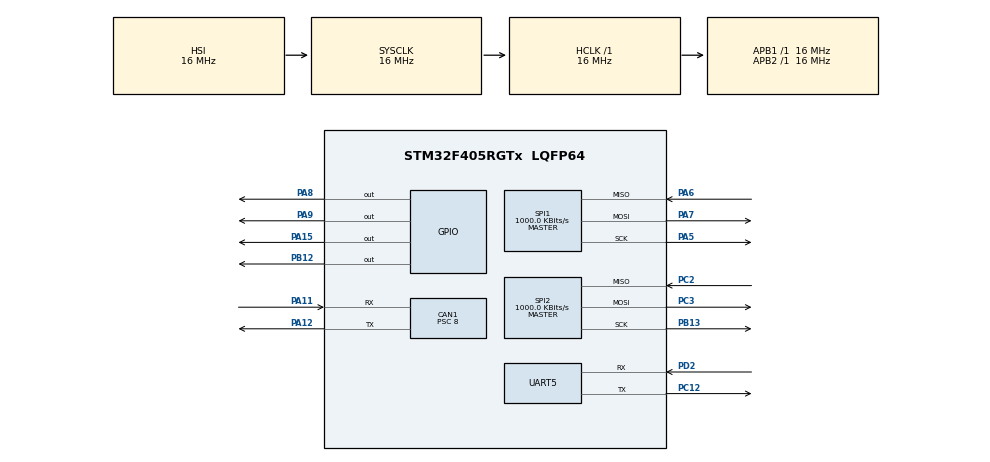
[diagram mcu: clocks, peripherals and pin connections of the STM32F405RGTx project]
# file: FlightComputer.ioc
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CAN1.BS1=CAN_BS1_2TQ
CAN1.BS2=CAN_BS2_1TQ
CAN1.CalculateBaudRate=500000
CAN1.CalculateTimeBit=2000
CAN1.CalculateTimeQuantum=500.0
CAN1.Prescaler=8
Mcu.Family=STM32F4
Mcu.Name=STM32F405RGTx
Mcu.Package=LQFP64
NVIC.CAN1_RX0_IRQn=true\:0\:0\:false\:false\:true\:true\:true\:true
NVIC.CAN1_TX_IRQn=true\:0\:0\:false\:false\:true\:true\:true\:true
NVIC.PriorityGroup=NVIC_PRIORITYGROUP_4
NVIC.UART5_IRQn=true\:0\:0\:false\:false\:true\:true\:true\:true
PA11.Mode=CAN_Activate
PA11.Signal=CAN1_RX
PA12.Mode=CAN_Activate
PA12.Signal=CAN1_TX
PA13.Mode=Serial_Wire
PA13.Signal=SYS_JTMS-SWDIO
PA14.Mode=Serial_Wire
PA14.Signal=SYS_JTCK-SWCLK
PA15.GPIO_Speed=GPIO_SPEED_FREQ_VERY_HIGH
PA15.PinState=GPIO_PIN_SET
PA15.Signal=GPIO_Output
PA4.Signal=SPI1_NSS
PA5.Mode=Full_Duplex_Master
PA5.Signal=SPI1_SCK
PA6.Mode=Full_Duplex_Master
PA6.Signal=SPI1_MISO
PA7.Mode=Full_Duplex_Master
PA7.Signal=SPI1_MOSI
PA8.PinState=GPIO_PIN_SET
PA8.Signal=GPIO_Output
PA9.PinState=GPIO_PIN_SET
PA9.Signal=GPIO_Output
PB12.GPIO_Speed=GPIO_SPEED_FREQ_VERY_HIGH
PB12.PinState=GPIO_PIN_SET
PB12.Signal=GPIO_Output
PB13.Mode=Full_Duplex_Master
PB13.Signal=SPI2_SCK
PC12.Mode=Asynchronous
PC12.Signal=UART5_TX
PC2.Mode=Full_Duplex_Master
PC2.Signal=SPI2_MISO
PC3.Mode=Full_Duplex_Master
PC3.Signal=SPI2_MOSI
PD2.Mode=Asynchronous
PD2.Signal=UART5_RX
PH0-OSC_IN.Mode=HSE-External-Oscillator
PH0-OSC_IN.Signal=RCC_OSC_IN
PH1-OSC_OUT.Mode=HSE-External-Oscillator
PH1-OSC_OUT.Signal=RCC_OSC_OUT
ProjectManager.HeapSize=0x200
ProjectManager.StackSize=0x400
ProjectManager.TargetToolchain=STM32CubeIDE
RCC.48MHZClocksFreq_Value=84000000
RCC.AHBFreq_Value=16000000
RCC.APB1Freq_Value=16000000
RCC.APB1TimFreq_Value=16000000
RCC.APB2Freq_Value=16000000
RCC.APB2TimFreq_Value=16000000
RCC.CortexFreq_Value=16000000
RCC.HCLKFreq_Value=16000000
RCC.HSE_VALUE=8000000
RCC.HSI_VALUE=16000000
RCC.LSE_VALUE=32768
RCC.PLLM=4
RCC.PLLN=168
RCC.PLLSourceVirtual=RCC_PLLSOURCE_HSE
RCC.SYSCLKFreq_VALUE=16000000
RCC.VCOOutputFreq_Value=336000000
SPI1.BaudRatePrescaler=SPI_BAUDRATEPRESCALER_16
SPI1.CalculateBaudRate=1000.0 KBits/s
SPI1.Direction=SPI_DIRECTION_2LINES
SPI1.Mode=SPI_MODE_MASTER
SPI1.VirtualType=VM_MASTER
SPI2.BaudRatePrescaler=SPI_BAUDRATEPRESCALER_16
SPI2.CalculateBaudRate=1000.0 KBits/s
SPI2.Direction=SPI_DIRECTION_2LINES
SPI2.Mode=SPI_MODE_MASTER
SPI2.VirtualType=VM_MASTER
UART5.VirtualMode=Asynchronous
board=custom

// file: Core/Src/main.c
/* USER CODE BEGIN Header */
/**
  ******************************************************************************
  * @file           : main.c
  * @brief          : Main program body
  ******************************************************************************
  * @attention
  *
  * Copyright (c) 2025 STMicroelectronics.
  * All rights reserved.
  *
  * This software is licensed under terms that can be found in the LICENSE file
  * in the root directory of this software component.
  * If no LICENSE file comes with this software, it is provided AS-IS.
  *
  ******************************************************************************
  */
/* USER CODE END Header */
#include "main.h"

/* USER CODE BEGIN Includes */
#include "W25Qxx.h"
#include "MS5607SPI.h"
#include "math.h"

#include <stdio.h>  // For printf, if used for debugging
#include <string.h> // For strlen, etc.
#include "stdbool.h"
#include "config/config.h"
//#include "utils/board_utils.h"
#include "utils/can_utils.h"

// XBee radio includes
#include "stm32/platform_config.h"    // Defines xbee_serial_t, XBEE_FRAME_HANDLERS, etc.
#include "stm32/xbee_platform_uart.h" // For xbee_platform_init, xbee_platform_serial, xbee_uart_isr
#include "stm32/xbee_actions.h"       // For xbee_frame_handlers, xbee_rx_packet_available/dequeue
#include "stm32/xbee_handler.h"       // For XBeeRxFrame_t, xbee_handler_*, etc.
#include "xbee/platform.h"            // Core XBee library platform types
#include "xbee/device.h"              // For xbee_dev_t, xbee_device_init, xbee_dev_tick etc.
#include "xbee/atcmd.h"               // For AT command interface, xbee_cmd_tick, xbee_next_frame_id
#include "xbee/byteorder.h"           // For htobe16(), etc.
#include "xbee/wpan.h"                // For WPAN_IEEE_ADDR_BROADCAST, etc.
#include <errno.h>                    // For error codes like ENOSPC, ETIMEDOUT
/* USER CODE END Includes */

/* USER CODE BEGIN PD */
#define NUM_BOARDS 8
#define XBEE_DEVICE_INIT_TIMEOUT_MS 10000 // Timeout for XBee library initial handshake with module
#define XBEE_AT_COMMAND_TIMEOUT_MS  5000  // Default timeout for AT commands sent via handler

#define MAX_CONSECUTIVE_XBEE_TX_FAILS 10
#define XBEE_RETRY_PERIOD_MS 10000
#define PERIODIC_ACK_INTERVAL_MS 1000
#define ACK_PENDING_TIMEOUT_MS 5000 // Timeout for an ACK waiting for TX status

#define VALVE_DELAY_MS 2000
#define VALVE_FIRE_MS 3000
#define FLASH_FREQUENCY_MS 1000
#define CAN_SEND_INTERVAL_MS 50

//0013A2004238A3E3
#define TARGET_XBEE_ADDR_64_B0 0x00 // Example byte 0 (MSB)
#define TARGET_XBEE_ADDR_64_B1 0x13 // Example byte 1
#define TARGET_XBEE_ADDR_64_B2 0xA2 // Example byte 2
#define TARGET_XBEE_ADDR_64_B3 0x00 // Example byte 3
#define TARGET_XBEE_ADDR_64_B4 0x42 // Example byte 4
#define TARGET_XBEE_ADDR_64_B5 0x38 // Example byte 5
#define TARGET_XBEE_ADDR_64_B6 0xA3 // Example byte 6
#define TARGET_XBEE_ADDR_64_B7 0xE3 // Example byte 7 (LSB)

#define TARGET_XBEE_ADDR_16 WPAN_NET_ADDR_UNDEFINED // 0xFFFE, usually means use 64-bit address for routing
/* USER CODE END PD */

CAN_HandleTypeDef hcan1;

SPI_HandleTypeDef hspi1;
SPI_HandleTypeDef hspi2;

UART_HandleTypeDef huart5;

/* USER CODE BEGIN PV */
volatile bool g_xbee_target_unreachable = false;
volatile uint32_t g_xbee_tx_fail_count = 0;
volatile uint8_t g_periodic_ack_frame_id = 0; // Stores the frame_id of the last periodic ACK sent. 0 means no ACK is pending TX status.
volatile uint32_t g_ack_pending_timestamp = 0; // Timestamp for when an ACK started waiting for TX status

static xbee_dev_t   xbee;

uint32_t board_uid[3];
bool servos_activated = 0;

uint32_t* no2_board_uid;
uint32_t* no3_board_uid;
uint32_t* no4_board_uid;
uint32_t* pyro_board_uid;
uint32_t* pt01_board_uid;
uint32_t* pt03_board_uid;
uint32_t* pt05_board_uid;
uint32_t* pc01_board_uid;

uint32_t no2_can_id;
uint32_t no3_can_id;
uint32_t no4_can_id;
uint32_t pyro_can_id;
uint32_t pt01_can_id;
uint32_t pt03_can_id;
uint32_t pt05_can_id;
uint32_t pc01_can_id;

uint32_t board_can_ids[NUM_BOARDS];

uint32_t current_time_ms = 0;
uint32_t prev_ack_send_time_ms = 0;
uint32_t servo_can_id;

XBeeRxFrame_t current_received_xbee_frame;
static uint8_t short_board_id;

static const addr64 g_target_xbee_ieee_addr = {
    .b = {TARGET_XBEE_ADDR_64_B0, TARGET_XBEE_ADDR_64_B1, TARGET_XBEE_ADDR_64_B2, TARGET_XBEE_ADDR_64_B3,
          TARGET_XBEE_ADDR_64_B4, TARGET_XBEE_ADDR_64_B5, TARGET_XBEE_ADDR_64_B6, TARGET_XBEE_ADDR_64_B7}
};
static const uint16_t g_target_xbee_network_addr = TARGET_XBEE_ADDR_16;

uint8_t ack_byte_value;
uint8_t tx_ack_payload[1];
uint8_t last_command_received = 0xFF; // Stores the last command byte received via XBee

static uint32_t last_can_message_dispatch_time = 0;
static uint32_t prev_flash_trigger_time = 0;
/* USER CODE END PV */

void SystemClock_Config(void);
static void MX_GPIO_Init(void);
static void MX_SPI1_Init(void);
static void MX_SPI2_Init(void);
static void MX_CAN1_Init(void);
static void MX_UART5_Init(void);

/* USER CODE BEGIN PFP */
void FLASH_ALL (uint32_t* board_can_ids, uint8_t numBoards) {
  uint8_t short_board_id;
//  uint32_t* board_uid;
  uint32_t current_tick; // To store current time from HAL_GetTick()

  // Get current time for the outer 1000ms check
  current_tick = HAL_GetTick();

  // Check if it's time to run the main flashing sequence (every FLASH_FREQUENCY_MS)
  if (current_tick - prev_flash_trigger_time >= FLASH_FREQUENCY_MS) {
    prev_flash_trigger_time = current_tick; // Update timestamp for this flash sequence activation

    // Determine the number of boards to flash, based on original logic
    // minus one because we dont want the pad controller itself.
    int num_boards_to_process = GET_NUM_BOARD_CONFIGS() - 1;

    for (int i = 0; i < num_boards_to_process; i++) {
      // Get current time before checking the 50ms CAN send interval
      current_tick = HAL_GetTick();

      // Ensure 50ms has passed since the last CAN message was dispatched by this function.
      // The 'last_can_message_dispatch_time != 0' check ensures that the very first message
      // (or the first after a long pause/reset) isn't unnecessarily delayed.
      if (last_can_message_dispatch_time != 0) {
        uint32_t time_since_last_dispatch = current_tick - last_can_message_dispatch_time;
        if (time_since_last_dispatch < CAN_SEND_INTERVAL_MS) {
          // Not enough time has passed, so wait for the remainder of the interval
          HAL_Delay(CAN_SEND_INTERVAL_MS - time_since_last_dispatch);
        }
      }

      // Update the dispatch time for the current message *before* actually sending it.
      // This marks the beginning of the 50ms slot for this message.
      last_can_message_dispatch_time = HAL_GetTick();

      // Prepare CAN message details

//      board_uid = GET_BOARD_UID_FROM_CAN_ID (board_can_ids[i]);
//      short_board_id = GET_SHORT_BOARD_ID (board_uid);
      short_board_id = GET_SHORT_BOARD_ID_FROM_CAN_ID(board_can_ids[i]);
      uint32_t ext_id = build_can_extended_id (SENDER_PAD_CONTROLLER, short_board_id, MSG_TYPE_FLASH_SIGNAL, 0x00);

      // Send the CAN message
      // Ensure 'data' and 'LENGTH' are defined and accessible in this scope.
      // These would be your actual CAN payload and its length.
      HAL_StatusTypeDef status = send_can_msg(ext_id, data, 0, &hcan1);

      if (status != HAL_OK) {
        // Indicate error, e.g., toggle an LED
//        HAL_GPIO_TogglePin(STATUS_IND_GPIO_Port, STATUS_IND_Pin);
      }
    }
  }
}
/* USER CODE END PFP */

/* USER CODE BEGIN 0 */

uint8_t TxData[30] = "Hello World";
uint8_t RxData[30];

float indx = 0;
float temp = 0;
float press = 0;
double alt = 0;
bool reset = false;
float position = 0;
uint32_t pageNum;
float tNum1 = 100.58;
float rNum1 = 0;

void FLIGHT_COMPUTER_SETUP_ROUTINE (uint32_t* board_can_ids, uint8_t numBoards){
  FLASH_ALL (board_can_ids, numBoards);
}
/* USER CODE END 0 */

int main(void)
{

  /* MCU Configuration--------------------------------------------------------*/

  /* Reset of all peripherals, Initializes the Flash interface and the Systick. */
  HAL_Init();

  /* Configure the system clock */
  SystemClock_Config();

  /* Initialize all configured peripherals */
  MX_GPIO_Init();
  MX_SPI1_Init();
  MX_SPI2_Init();
  MX_CAN1_Init();
  MX_UART5_Init();
  /* USER CODE BEGIN 2 */
//  HAL_GPIO_TogglePin(STATUS_IND_GPIO_Port, STATUS_IND_Pin);
//  HAL_Delay(3000); // Initial status indication
//  HAL_GPIO_TogglePin(STATUS_IND_GPIO_Port, STATUS_IND_Pin);

  GET_BOARD_UID (board_uid);
  short_board_id = GET_SHORT_BOARD_ID(board_uid);

  // --- CAN Initialization ---
  if (HAL_CAN_ActivateNotification(&hcan1, CAN_IT_RX_FIFO0_MSG_PENDING | CAN_IT_TX_MAILBOX_EMPTY) != HAL_OK)
  {
      Error_Handler();
  }

  CAN_FilterTypeDef canfilterconfig;
  canfilterconfig.FilterActivation = CAN_FILTER_ENABLE;
  canfilterconfig.FilterBank = 0;
  canfilterconfig.FilterFIFOAssignment = CAN_FILTER_FIFO0;
  canfilterconfig.FilterMode = CAN_FILTERMODE_IDMASK;
  canfilterconfig.FilterScale = CAN_FILTERSCALE_32BIT;
  canfilterconfig.FilterIdHigh = 0x0000;
  canfilterconfig.FilterIdLow = 0x0000;
  canfilterconfig.FilterMaskIdHigh = 0x0000;
  canfilterconfig.FilterMaskIdLow = 0x0000;
  if (HAL_CAN_ConfigFilter(&hcan1, &canfilterconfig) != HAL_OK)
  {
      Error_Handler();
  }
  if (HAL_CAN_Start(&hcan1) != HAL_OK)
  {
      Error_Handler();
  }

  // --- UART Interrupt Priority for XBee ---
	// Ensure USART6 interrupt is enabled with appropriate priority
	// This is crucial for timely processing of RX data and errors.
	HAL_NVIC_SetPriority(UART5_IRQn, 5, 0); // Priority 5, Subpriority 0
	HAL_NVIC_EnableIRQ(UART5_IRQn);

	HAL_Delay(10); // Small delay before XBee initialization

	// --- Initial XBee Platform and Device Initialization ---
	xbee_platform_config(&huart5, 115200);
	xbee_platform_init(); // This calls xbee_ser_open for the first time for huart6

	// Initialize the XBee device structure
	// The 'always_awake' variable is defined in USER CODE BEGIN PV
	xbee_dev_init(&xbee, xbee_platform_serial(), always_awake, NULL);
	xbee_dev_flowcontrol(&xbee, 0); // Assuming no hardware flow control (0 = disabled)
	xbee_cmd_init_device(&xbee);    // Initialize AT command processor for this device

	// Initial check for XBee module readiness
	int status = 0;
	uint32_t init_start_time = HAL_GetTick();
	do {
		xbee_dev_tick(&xbee); // Allow XBee library to process incoming/outgoing data
		xbee_cmd_tick();      // Process AT command responses
		status = xbee_cmd_query_status(&xbee); // Query basic XBee status
		if ((HAL_GetTick() - init_start_time) > 5000) { // 5-second timeout
			// printf("Timeout waiting for initial XBee query status.\r\n"); // Requires printf retargeting
			Error_Handler(); // Or handle appropriately (e.g., log error, retry)
			break;
		}
	} while (status == -EBUSY); // -EBUSY is a typical "busy" response from XBee lib

	if (status != 0) {
		// printf("Initial XBee query status failed: %d\r\n", status);
		Error_Handler(); // Or handle appropriately
	}

	xbee_handler_init_rx_queue(); // Initialize your application's RX queue for XBee frames
//	ack_byte_value = Create_Ack();
	prev_ack_send_time_ms = HAL_GetTick();
	g_periodic_ack_frame_id = 0; // Ensure it's initialized

	// --- Board and CAN ID Setup ---
	no2_board_uid = GET_BOARD_ID_FROM_PNID ("FV-N02");
	no3_board_uid = GET_BOARD_ID_FROM_PNID ("FV-N03");
	no4_board_uid = GET_BOARD_ID_FROM_PNID ("FV-N04");
	pyro_board_uid = GET_BOARD_ID_FROM_PNID ("FV-PYRO");
	pt01_board_uid = GET_BOARD_ID_FROM_PNID ("PT-01");
	pt03_board_uid = GET_BOARD_ID_FROM_PNID ("PT-03");
	pt05_board_uid = GET_BOARD_ID_FROM_PNID ("PT-05");
	pc01_board_uid = GET_BOARD_ID_FROM_PNID ("PC-01");

	no2_can_id = GET_CAN_ID_FROM_BOARD_UID (no2_board_uid);
	no3_can_id = GET_CAN_ID_FROM_BOARD_UID (no3_board_uid);
	no4_can_id = GET_CAN_ID_FROM_BOARD_UID (no4_board_uid);
	pyro_can_id = GET_CAN_ID_FROM_BOARD_UID (pyro_board_uid);
	pt01_can_id = GET_CAN_ID_FROM_BOARD_UID (pt01_board_uid);
	pt03_can_id = GET_CAN_ID_FROM_BOARD_UID (pt03_board_uid);
	pt05_can_id = GET_CAN_ID_FROM_BOARD_UID (pt05_board_uid);
	pc01_can_id = GET_CAN_ID_FROM_BOARD_UID (pc01_board_uid);

	board_can_ids[0] = no2_can_id;
	board_can_ids[1] = no3_can_id;
	board_can_ids[2] = no4_can_id;
	board_can_ids[3] = pyro_can_id;
	board_can_ids[4] = pt01_can_id;
	board_can_ids[5] = pt03_can_id;
	board_can_ids[6] = pt05_can_id;
	board_can_ids[7] = pc01_can_id;

	FLIGHT_COMPUTER_SETUP_ROUTINE(board_can_ids, NUM_BOARDS);

  //MS5607_Init(&hspi1, GPIOB, 12);
//  W25Q_Reset();
//  write_enable();
	//W25Q_Write_Page(1, 10,strlen(TxData), TxData);

  //position = W25Q_Read_NUM(1,2);
  //pageNum = (position / 255) + 2
  //W25Q_Write_NUM(1, 15, tNum1);

//  W25Q_Write_NUM(1, 10, tNum1);

  /* USER CODE END 2 */

  /* Infinite loop */
  while (1)
  {

    /* USER CODE BEGIN 3 */
	  FLASH_ALL (board_can_ids, NUM_BOARDS);
	  HAL_Delay(5);
	//MS5607Update();
	//temp = MS5607GetTemperatureC();
	//press = MS5607GetPressurePa();
	//alt = (44330 * (1-pow((press/101325),(1/5.255)))) * 3.28;

	//W25Q_Write_NUM(pageNum, position - (pageNum * 255), alt);

//	position += 2;
//	pageNum = (position / 255) + 2;

//	rNum1 = W25Q_Read_NUM(1, 15);

//	HAL_Delay (100);
	//W25Q_Read(0, 250, 20, RxData);
  }
  /* USER CODE END 3 */
}

void SystemClock_Config(void)
{
  RCC_OscInitTypeDef RCC_OscInitStruct = {0};
  RCC_ClkInitTypeDef RCC_ClkInitStruct = {0};

  /** Configure the main internal regulator output voltage
  */
  __HAL_RCC_PWR_CLK_ENABLE();
  __HAL_PWR_VOLTAGESCALING_CONFIG(PWR_REGULATOR_VOLTAGE_SCALE1);

  /** Initializes the RCC Oscillators according to the specified parameters
  * in the RCC_OscInitTypeDef structure.
  */
  RCC_OscInitStruct.OscillatorType = RCC_OSCILLATORTYPE_HSI;
  RCC_OscInitStruct.HSIState = RCC_HSI_ON;
  RCC_OscInitStruct.HSICalibrationValue = RCC_HSICALIBRATION_DEFAULT;
  RCC_OscInitStruct.PLL.PLLState = RCC_PLL_NONE;
  if (HAL_RCC_OscConfig(&RCC_OscInitStruct) != HAL_OK)
  {
    Error_Handler();
  }

  /** Initializes the CPU, AHB and APB buses clocks
  */
  RCC_ClkInitStruct.ClockType = RCC_CLOCKTYPE_HCLK|RCC_CLOCKTYPE_SYSCLK
                              |RCC_CLOCKTYPE_PCLK1|RCC_CLOCKTYPE_PCLK2;
  RCC_ClkInitStruct.SYSCLKSource = RCC_SYSCLKSOURCE_HSI;
  RCC_ClkInitStruct.AHBCLKDivider = RCC_SYSCLK_DIV1;
  RCC_ClkInitStruct.APB1CLKDivider = RCC_HCLK_DIV1;
  RCC_ClkInitStruct.APB2CLKDivider = RCC_HCLK_DIV1;

  if (HAL_RCC_ClockConfig(&RCC_ClkInitStruct, FLASH_LATENCY_0) != HAL_OK)
  {
    Error_Handler();
  }
}

static void MX_CAN1_Init(void)
{

  hcan1.Instance = CAN1;
  hcan1.Init.Prescaler = 8;
  hcan1.Init.Mode = CAN_MODE_NORMAL;
  hcan1.Init.SyncJumpWidth = CAN_SJW_1TQ;
  hcan1.Init.TimeSeg1 = CAN_BS1_2TQ;
  hcan1.Init.TimeSeg2 = CAN_BS2_1TQ;
  hcan1.Init.TimeTriggeredMode = DISABLE;
  hcan1.Init.AutoBusOff = DISABLE;
  hcan1.Init.AutoWakeUp = DISABLE;
  hcan1.Init.AutoRetransmission = DISABLE;
  hcan1.Init.ReceiveFifoLocked = DISABLE;
  hcan1.Init.TransmitFifoPriority = DISABLE;
  if (HAL_CAN_Init(&hcan1) != HAL_OK)
  {
    Error_Handler();
  }

}

static void MX_SPI1_Init(void)
{

  /* SPI1 parameter configuration*/
  hspi1.Instance = SPI1;
  hspi1.Init.Mode = SPI_MODE_MASTER;
  hspi1.Init.Direction = SPI_DIRECTION_2LINES;
  hspi1.Init.DataSize = SPI_DATASIZE_8BIT;
  hspi1.Init.CLKPolarity = SPI_POLARITY_LOW;
  hspi1.Init.CLKPhase = SPI_PHASE_1EDGE;
  hspi1.Init.NSS = SPI_NSS_SOFT;
  hspi1.Init.BaudRatePrescaler = SPI_BAUDRATEPRESCALER_16;
  hspi1.Init.FirstBit = SPI_FIRSTBIT_MSB;
  hspi1.Init.TIMode = SPI_TIMODE_DISABLE;
  hspi1.Init.CRCCalculation = SPI_CRCCALCULATION_DISABLE;
  hspi1.Init.CRCPolynomial = 10;
  if (HAL_SPI_Init(&hspi1) != HAL_OK)
  {
    Error_Handler();
  }

}

static void MX_SPI2_Init(void)
{

  /* SPI2 parameter configuration*/
  hspi2.Instance = SPI2;
  hspi2.Init.Mode = SPI_MODE_MASTER;
  hspi2.Init.Direction = SPI_DIRECTION_2LINES;
  hspi2.Init.DataSize = SPI_DATASIZE_8BIT;
  hspi2.Init.CLKPolarity = SPI_POLARITY_LOW;
  hspi2.Init.CLKPhase = SPI_PHASE_1EDGE;
  hspi2.Init.NSS = SPI_NSS_SOFT;
  hspi2.Init.BaudRatePrescaler = SPI_BAUDRATEPRESCALER_16;
  hspi2.Init.FirstBit = SPI_FIRSTBIT_MSB;
  hspi2.Init.TIMode = SPI_TIMODE_DISABLE;
  hspi2.Init.CRCCalculation = SPI_CRCCALCULATION_DISABLE;
  hspi2.Init.CRCPolynomial = 10;
  if (HAL_SPI_Init(&hspi2) != HAL_OK)
  {
    Error_Handler();
  }

}

static void MX_UART5_Init(void)
{

  huart5.Instance = UART5;
  huart5.Init.BaudRate = 115200;
  huart5.Init.WordLength = UART_WORDLENGTH_8B;
  huart5.Init.StopBits = UART_STOPBITS_1;
  huart5.Init.Parity = UART_PARITY_NONE;
  huart5.Init.Mode = UART_MODE_TX_RX;
  huart5.Init.HwFlowCtl = UART_HWCONTROL_NONE;
  huart5.Init.OverSampling = UART_OVERSAMPLING_16;
  if (HAL_UART_Init(&huart5) != HAL_OK)
  {
    Error_Handler();
  }

}

static void MX_GPIO_Init(void)
{
  GPIO_InitTypeDef GPIO_InitStruct = {0};

  /* GPIO Ports Clock Enable */
  __HAL_RCC_GPIOH_CLK_ENABLE();
  __HAL_RCC_GPIOC_CLK_ENABLE();
  __HAL_RCC_GPIOA_CLK_ENABLE();
  __HAL_RCC_GPIOB_CLK_ENABLE();
  __HAL_RCC_GPIOD_CLK_ENABLE();

  /*Configure GPIO pin Output Level */
  HAL_GPIO_WritePin(GPIOB, GPIO_PIN_12, GPIO_PIN_SET);

  /*Configure GPIO pin Output Level */
  HAL_GPIO_WritePin(GPIOA, GPIO_PIN_8|GPIO_PIN_9|GPIO_PIN_15, GPIO_PIN_SET);

  /*Configure GPIO pin : PB12 */
  GPIO_InitStruct.Pin = GPIO_PIN_12;
  GPIO_InitStruct.Mode = GPIO_MODE_OUTPUT_PP;
  GPIO_InitStruct.Pull = GPIO_NOPULL;
  GPIO_InitStruct.Speed = GPIO_SPEED_FREQ_VERY_HIGH;
  HAL_GPIO_Init(GPIOB, &GPIO_InitStruct);

  /*Configure GPIO pins : PA8 PA9 */
  GPIO_InitStruct.Pin = GPIO_PIN_8|GPIO_PIN_9;
  GPIO_InitStruct.Mode = GPIO_MODE_OUTPUT_PP;
  GPIO_InitStruct.Pull = GPIO_NOPULL;
  GPIO_InitStruct.Speed = GPIO_SPEED_FREQ_LOW;
  HAL_GPIO_Init(GPIOA, &GPIO_InitStruct);

  /*Configure GPIO pin : PA15 */
  GPIO_InitStruct.Pin = GPIO_PIN_15;
  GPIO_InitStruct.Mode = GPIO_MODE_OUTPUT_PP;
  GPIO_InitStruct.Pull = GPIO_NOPULL;
  GPIO_InitStruct.Speed = GPIO_SPEED_FREQ_VERY_HIGH;
  HAL_GPIO_Init(GPIOA, &GPIO_InitStruct);

}

/* USER CODE BEGIN 4 */
void HAL_CAN_RxFifo0MsgPendingCallback(CAN_HandleTypeDef *hcan)
{
	CAN_RxHeaderTypeDef RxHeader;
	uint8_t RxData[8]; // Max CAN data length = 8 bytes

	if (HAL_CAN_GetRxMessage(hcan, CAN_RX_FIFO0, &RxHeader, RxData) != HAL_OK) {
		// Log error or use Error_Handler();
		return;
	}

	// --- Process only Extended ID messages ---
	if (RxHeader.IDE != CAN_ID_EXT) {
		return; // Ignore standard ID messages
	}

	// The 29-bit ID received from the header
	uint32_t received_id_29bit = RxHeader.ExtId;

	// --- Check if the message is an ACK (using the MSB = bit 28) ---
	bool is_incoming_ack = (received_id_29bit & CAN_ID_ACK_FLAG_29BIT) != 0;

	// --- Parse the ID fields ---
	// (parse_can_extended_id ignores the ACK bit itself if it uses masks correctly)
	uint8_t sender, board_id, msg_type, instance;
	parse_can_extended_id(received_id_29bit, &sender, &board_id, &msg_type, &instance);

    if (is_incoming_ack){
		// Construct the payload for XBee: 4-byte CAN ID (shifted) + CAN Data
		uint8_t xbee_payload[4 + 8]; // Max size: 4 bytes ID + 8 bytes data
		size_t xbee_payload_len = 4 + RxHeader.DLC; // Total length

		// Ensure DLC is valid before proceeding
		if (RxHeader.DLC > 8) {
			 // Invalid CAN DLC, handle error or ignore
			 return;
		}

		// 1. Get the 32-bit shifted CAN ID representation (as expected by Python side)
		//    This includes the ACK flag already set in received_id_29bit
		uint32_t can_id_for_xbee_32bit = received_id_29bit << 3;

		// 2. Copy CAN ID into XBee payload buffer (Big Endian)
		xbee_payload[0] = (uint8_t)((can_id_for_xbee_32bit >> 24) & 0xFF);
		xbee_payload[1] = (uint8_t)((can_id_for_xbee_32bit >> 16) & 0xFF);
		xbee_payload[2] = (uint8_t)((can_id_for_xbee_32bit >> 8) & 0xFF);
		xbee_payload[3] = (uint8_t)(can_id_for_xbee_32bit & 0xFF);

		// 3. Copy CAN Data payload (if any)
		if (RxHeader.DLC > 0) {
			memcpy(&xbee_payload[4], RxData, RxHeader.DLC);
		}

		// 4. Send the combined payload via XBee to the Pad Controller
		//    Using the assumed higher-level function for simplicity here.
		//    Using Frame ID 0 often means no TX status is requested or needed for this forward.
		//    Adjust parameters based on your actual XBee handler function.
		int send_status = xbee_handler_send_byte_array(&xbee, // XBee device instance
													   &g_target_xbee_ieee_addr, // Target 64-bit Addr
													   g_target_xbee_network_addr,     // Target 16-bit Addr (0xFFFE)
													   xbee_payload,                     // Data to send
													   xbee_payload_len,                 // Length of data
													   0,                                // Frame ID (0 = No TX Status)
													   0);                               // Options (e.g., XBEE_HANDLER_TX_OPT_NONE)

		if (send_status < 0) {
		// Handle XBee transmission failure (e.g., log error, queue full?)
		// printf("Failed to forward CAN ACK (ID: 0x%08lX) via XBee, status: %d\r\n", received_id_29bit, send_status);
		} else {
			// Message successfully queued for XBee transmission
			// printf("Forwarded CAN ACK (ID: 0x%08lX) via XBee.\r\n", received_id_29bit);
		}
    }
}
/* USER CODE END 4 */

void Error_Handler(void)
{
  __disable_irq();
  while (1)
  {
  }
}
